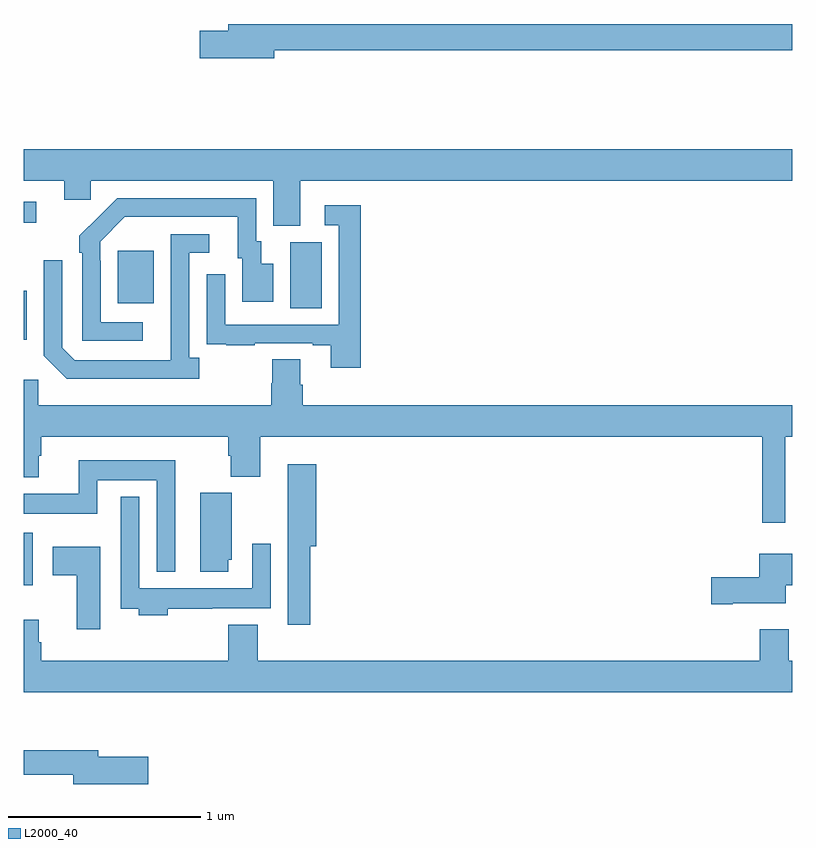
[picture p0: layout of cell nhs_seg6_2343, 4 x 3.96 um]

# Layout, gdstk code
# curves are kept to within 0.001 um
import gdstk
lib = gdstk.Library(unit=1e-6, precision=1e-09)
def R(c, l, rs):  # rectangles x0, y0, x1, y1
    for r in rs: c.add(gdstk.rectangle(r[:2], r[2:], *l))
def P(c, l, *ps):  # polygons
    for p in ps: c.add(gdstk.Polygon(p, *l))
L2000_40 = (2000, 40)

nhs_seg6_2343 = lib.new_cell('nhs_seg6_2343')
R(nhs_seg6_2343, L2000_40, [(251,950.558,251.047,950.83), (251,951.837,251.014,952.09), (252.386,952,252.55,952.344), (251.489,952.025,251.677,952.3), (251,952.446,251.065,952.554)])
P(nhs_seg6_2343, L2000_40, [(252.304,953.344),(255,953.344),(255,953.48),(252.065,953.48),(252.065,953.444),(251.916,953.444),(251.916,953.302),(252.304,953.302)],
  [(252.439,952.664),(255,952.664),(255,952.828),(251,952.828),(251,952.664),(251.21,952.664),(251.21,952.566),(251.349,952.566),(251.349,952.664),(252.299,952.664),(252.299,952.429),(252.439,952.429)],
  [(251.62,951.927),(251.4,951.927),(251.4,952.247),(251.397,952.247),(251.397,952.347),(251.526,952.476),(252.113,952.476),(252.113,952.26),(252.137,952.26),(252.137,952.035),(252.298,952.035),(252.298,952.231),(252.235,952.231),(252.235,952.35),(252.21,952.35),(252.21,952.572),(251.486,952.572),(251.289,952.377),(251.289,952.289),(251.304,952.289),(251.304,951.831),(251.62,951.831)],
  [(252.755,952.537),(252.567,952.537),(252.567,952.431),(252.639,952.431),(252.639,951.915),(252.048,951.915),(252.048,952.177),(251.952,952.177),(251.952,951.922),(251.953,951.922),(251.953,951.813),(252.055,951.813),(252.055,951.807),(252.203,951.807),(252.203,951.819),(252.503,951.819),(252.503,951.807),(252.599,951.807),(252.599,951.69),(252.755,951.69)],
  [(251.914,951.742),(251.862,951.742),(251.862,952.29),(251.965,952.29),(251.965,952.386),(251.766,952.386),(251.765,951.729),(251.265,951.729),(251.199,951.795),(251.199,952.249),(251.103,952.249),(251.103,951.753),(251.224,951.632),(251.914,951.632)],
  [(254.965,951.332),(255,951.332),(255,951.496),(252.452,951.496),(252.452,951.602),(252.439,951.602),(252.439,951.734),(252.292,951.734),(252.292,951.609),(252.287,951.609),(252.287,951.496),(251.076,951.496),(251.076,951.628),(251,951.628),(251,951.119),(251.077,951.119),(251.077,951.231),(251.09,951.231),(251.09,951.332),(252.065,951.332),(252.065,951.233),(252.077,951.233),(252.077,951.124),(252.23,951.124),(252.23,951.332),(254.844,951.332),(254.844,950.883),(254.965,950.883)],
  [(251.788,951.208),(251.285,951.208),(251.285,951.034),(251,951.034),(251,950.93),(251.382,950.93),(251.382,951.104),(251.691,951.104),(251.691,950.627),(251.788,950.627)],
  [(252.491,950.762),(252.521,950.762),(252.521,951.187),(252.374,951.187),(252.374,950.866),(252.375,950.866),(252.375,950.352),(252.491,950.352)],
  [(252.064,950.691),(252.082,950.691),(252.082,951.039),(251.918,951.039),(251.918,950.628),(252.064,950.628)],
  [(251.75,950.436),(251.981,950.436),(251.981,950.438),(252.285,950.438),(252.285,950.773),(252.189,950.773),(252.189,950.542),(251.601,950.542),(251.601,951.019),(251.505,951.019),(251.505,950.436),(251.597,950.436),(251.597,950.402),(251.75,950.402)],
  [(251.398,950.758),(251.151,950.758),(251.151,950.611),(251.276,950.611),(251.276,950.328),(251.398,950.328)],
  [(254.692,950.465),(254.968,950.465),(254.968,950.558),(255,950.558),(255,950.722),(254.828,950.722),(254.828,950.6),(254.58,950.6),(254.58,950.458),(254.692,950.458)],
  [(255,950.164),(254.983,950.164),(254.983,950.329),(254.831,950.329),(254.831,950.164),(252.217,950.164),(252.217,950.353),(252.065,950.353),(252.065,950.164),(251.09,950.164),(251.09,950.262),(251.077,950.262),(251.077,950.377),(251,950.377),(251,950),(255,950)],
  [(251.647,949.665),(251.386,949.665),(251.386,949.699),(251,949.699),(251,949.57),(251.258,949.57),(251.258,949.523),(251.647,949.523)])

lib.write_gds('nhs_seg6_2343.gds')
